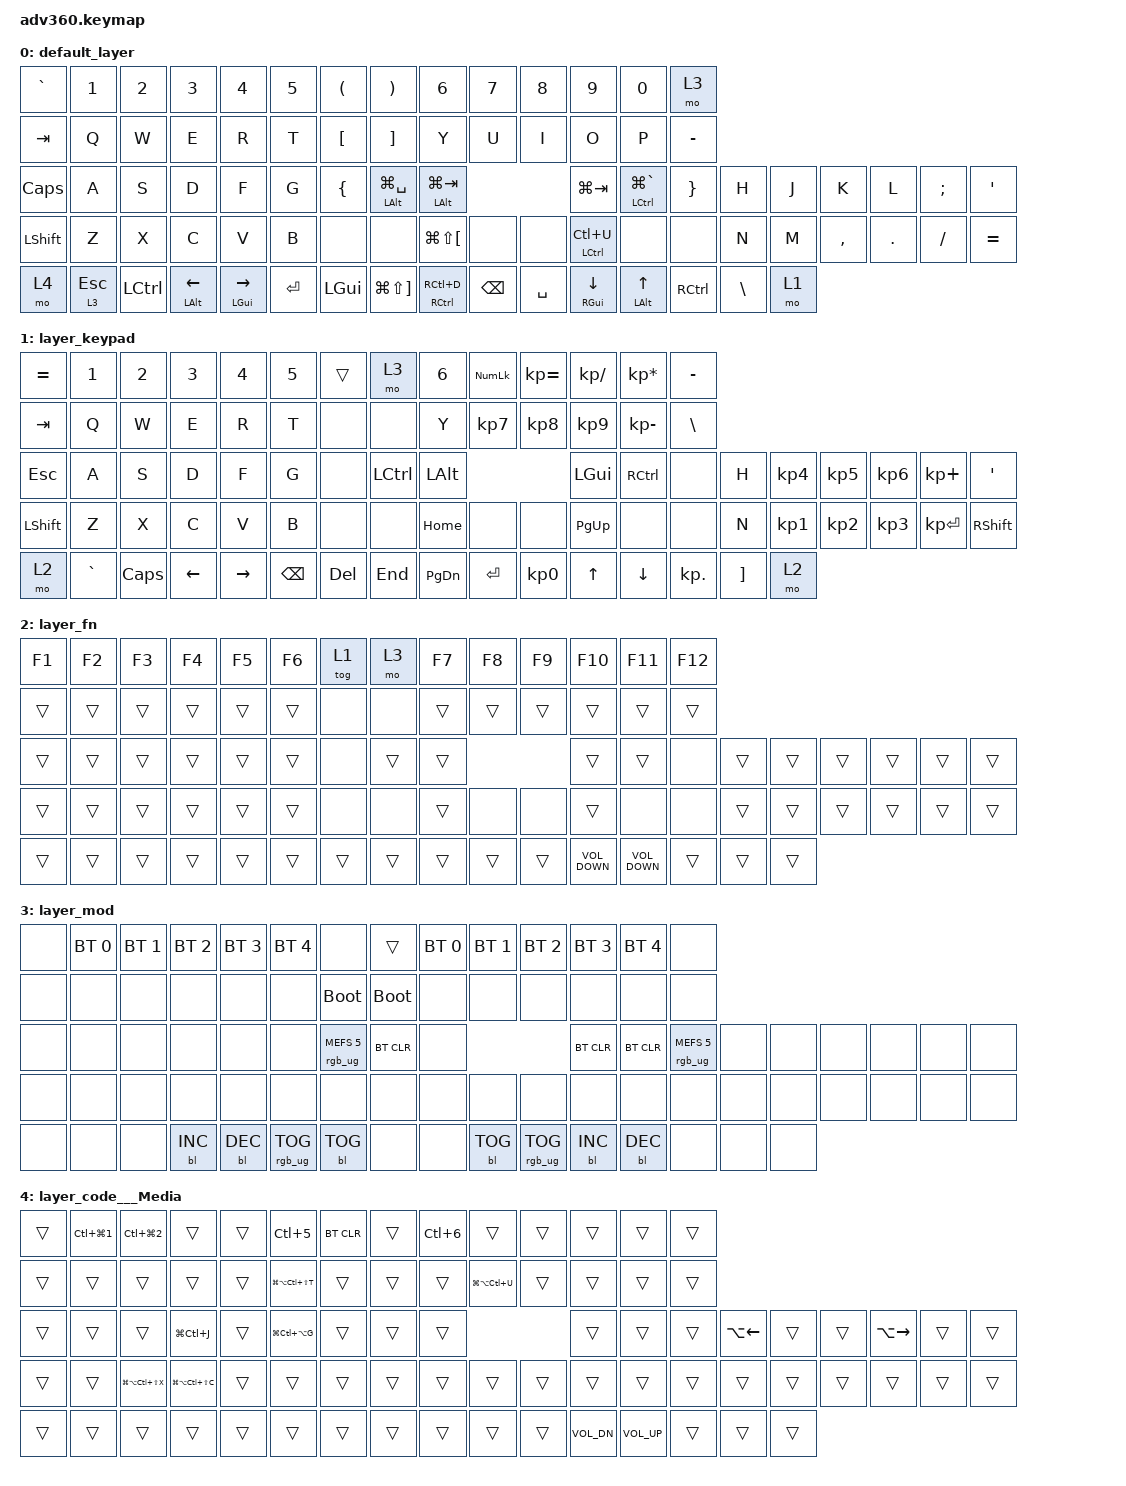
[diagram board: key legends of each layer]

/*
 * Copyright (c) 2020 The ZMK Contributors
 *
 * SPDX-License-Identifier: MIT
 */


/* THIS FILE WAS GENERATED!
 *
 * This file was generated automatically. You may or may not want to
 * edit it directly.
 */

#include <behaviors.dtsi>
#include <dt-bindings/zmk/keys.h>
#include <dt-bindings/zmk/bt.h>
#include <dt-bindings/zmk/rgb.h>
#include <dt-bindings/zmk/backlight.h>

/ {
  behaviors {
    #include "macros.dtsi"

    hm: homerow_mods {
        compatible = "zmk,behavior-hold-tap";
        label = "HOMEROW_MODS";
        #binding-cells = <2>;
        tapping-term-ms = <200>;
        quick_tap_ms = <175>;
        flavor = "tap-preferred";
        bindings = <&kp>, <&kp>;
    };
  };

    keymap {
        compatible = "zmk,keymap";


        default_layer {
            bindings = <
 &kp GRAVE     &kp N1     &kp N2         &kp N3              &kp N4     &kp N5            &kp LEFT_PARENTHESIS            &kp RPAR            &kp N6    &kp N7     &kp N8           &kp N9                      &kp N0      &mo 3
   &kp TAB      &kp Q      &kp W          &kp E               &kp R      &kp T                        &kp LBKT            &kp RBKT             &kp Y     &kp U      &kp I            &kp O                       &kp P  &kp MINUS
  &kp CAPS      &kp A      &kp S          &kp D               &kp F      &kp G                        &kp LBRC  &mt LALT LG(SPACE)  &mt LALT LG(TAB)                           &kp LG(TAB)  &mt LEFT_CONTROL LG(GRAVE)   &kp RBRC     &kp H   &kp J      &kp K    &kp L  &kp SEMI    &kp SQT
 &kp LSHFT      &kp Z      &kp X          &kp C               &kp V      &kp B                           &none               &none  &kp LG(LS(LBKT))     &none      &none  &mt LCTRL LC(U)                       &none      &none     &kp N   &kp M  &kp COMMA  &kp DOT  &kp FSLH  &kp EQUAL
     &mo 4  &lt 3 ESC  &kp LCTRL  &mt LALT LEFT  &mt LEFT_GUI RIGHT  &kp ENTER                    &kp LEFT_GUI    &kp LG(LS(RBKT))   &mt RCTRL RC(D)  &kp BSPC  &kp SPACE    &mt RGUI DOWN                 &mt LALT UP  &kp RCTRL  &kp BSLH   &mo 1
            >;
        };

        layer_keypad {
            bindings = <
 &kp EQUAL     &kp N1    &kp N2    &kp N3     &kp N4    &kp N5             &trans      &mo 3     &kp N6  &kp KP_NUM  &kp KP_EQUAL  &kp KP_DIVIDE  &kp KP_MULTIPLY   &kp MINUS
   &kp TAB      &kp Q     &kp W     &kp E      &kp R     &kp T              &none      &none      &kp Y   &kp KP_N7     &kp KP_N8      &kp KP_N9     &kp KP_MINUS    &kp BSLH
   &kp ESC      &kp A     &kp S     &kp D      &kp F     &kp G              &none  &kp LCTRL   &kp LALT                                 &kp LGUI        &kp RCTRL       &none     &kp H  &kp KP_N4  &kp KP_N5  &kp KP_N6   &kp KP_PLUS    &kp SQT
 &kp LSHFT      &kp Z     &kp X     &kp C      &kp V     &kp B              &none      &none   &kp HOME       &none         &none      &kp PG_UP            &none       &none     &kp N  &kp KP_N1  &kp KP_N2  &kp KP_N3  &kp KP_ENTER  &kp RSHFT
     &mo 2  &kp GRAVE  &kp CAPS  &kp LEFT  &kp RIGHT  &kp BSPC            &kp DEL    &kp END  &kp PG_DN   &kp ENTER     &kp KP_N0         &kp UP         &kp DOWN  &kp KP_DOT  &kp RBKT      &mo 2
            >;
        };

        layer_fn {
            bindings = <
 &kp F1  &kp F2  &kp F3  &kp F4  &kp F5  &kp F6            &tog 1   &mo 3  &kp F7  &kp F8  &kp F9            &kp F10            &kp F11  &kp F12
 &trans  &trans  &trans  &trans  &trans  &trans             &none   &none  &trans  &trans  &trans             &trans             &trans   &trans
 &trans  &trans  &trans  &trans  &trans  &trans             &none  &trans  &trans                             &trans             &trans    &none  &trans  &trans  &trans  &trans  &trans  &trans
 &trans  &trans  &trans  &trans  &trans  &trans             &none   &none  &trans   &none   &none             &trans              &none    &none  &trans  &trans  &trans  &trans  &trans  &trans
 &trans  &trans  &trans  &trans  &trans  &trans            &trans  &trans  &trans  &trans  &trans  &kp C_VOLUME_DOWN  &kp C_VOLUME_DOWN   &trans  &trans  &trans
            >;
        };

        layer_mod {
            bindings = <
  &none  &bt BT_SEL 0  &bt BT_SEL 1  &bt BT_SEL 2  &bt BT_SEL 3     &bt BT_SEL 4                             &none       &trans  &bt BT_SEL 0  &bt BT_SEL 1     &bt BT_SEL 2  &bt BT_SEL 3  &bt BT_SEL 4                   &none
  &none         &none         &none         &none         &none            &none                       &bootloader  &bootloader         &none         &none            &none         &none         &none                   &none
  &none         &none         &none         &none         &none            &none            &rgb_ug RGB_MEFS_CMD 5   &bt BT_CLR         &none                                   &bt BT_CLR    &bt BT_CLR  &rgb_ug RGB_MEFS_CMD 5   &none   &none   &none   &none   &none   &none
  &none         &none         &none         &none         &none            &none                             &none        &none         &none         &none            &none         &none         &none                   &none   &none   &none   &none   &none   &none   &none
  &none         &none         &none    &bl BL_INC    &bl BL_DEC  &rgb_ug RGB_TOG                        &bl BL_TOG        &none         &none    &bl BL_TOG  &rgb_ug RGB_TOG    &bl BL_INC    &bl BL_DEC                   &none   &none   &none
            >;
        };

        layer_code___Media {
            bindings = <
 &trans  &kp LC(LG(N1))   &kp LC(LG(NUMBER_2))                 &trans  &trans       &kp LC(NUMBER_5)            &bt BT_CLR  &trans  &kp LC(NUMBER_6)             &trans  &trans        &trans        &trans  &trans
 &trans          &trans                 &trans                 &trans  &trans  &kp LG(LA(LC(LS(T))))                &trans  &trans            &trans  &kp LG(LA(LC(U)))  &trans        &trans        &trans  &trans
 &trans          &trans                 &trans          &kp LG(LC(J))  &trans      &kp LG(LC(LA(G)))                &trans  &trans            &trans                                   &trans        &trans  &trans  &kp LA(LEFT)  &trans  &trans  &kp LA(RIGHT)  &trans  &trans
 &trans          &trans  &kp LG(LA(LC(LS(X))))  &kp LG(LA(LC(LS(C))))  &trans                 &trans                &trans  &trans            &trans             &trans  &trans        &trans        &trans  &trans        &trans  &trans  &trans         &trans  &trans  &trans
 &trans          &trans                 &trans                 &trans  &trans                 &trans                &trans  &trans            &trans             &trans  &trans  &kp C_VOL_DN  &kp C_VOL_UP  &trans        &trans  &trans
            >;
        };

    };
};
